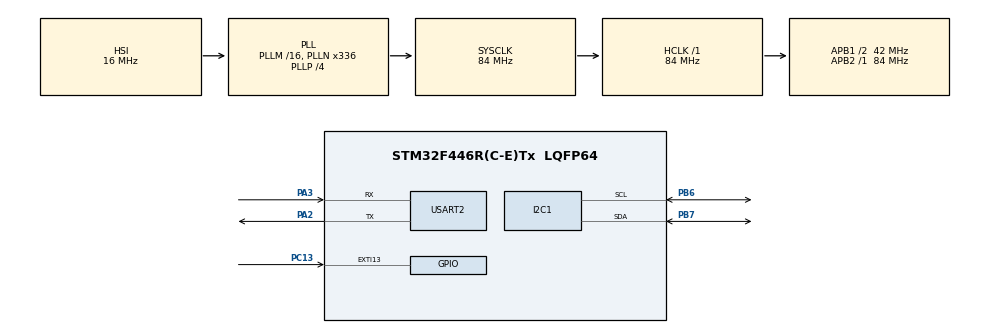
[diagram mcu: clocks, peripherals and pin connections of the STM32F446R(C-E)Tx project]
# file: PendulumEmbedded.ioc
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I2C1.I2C_Mode=I2C_Fast
Mcu.Family=STM32F4
Mcu.Name=STM32F446R(C-E)Tx
Mcu.Package=LQFP64
NVIC.EXTI15_10_IRQn=true\:0\:0\:true\:false\:true\:true\:true\:true
NVIC.PriorityGroup=NVIC_PRIORITYGROUP_1
NVIC.TIM7_IRQn=true\:0\:0\:false\:false\:true\:true\:true\:true
PA2.Mode=Asynchronous
PA2.Signal=USART2_TX
PA3.Mode=Asynchronous
PA3.Signal=USART2_RX
PB6.GPIO_Pu=GPIO_PULLUP
PB6.Mode=I2C
PB6.Signal=I2C1_SCL
PB7.GPIO_Pu=GPIO_PULLUP
PB7.Mode=I2C
PB7.Signal=I2C1_SDA
PC13.GPIO_PuPd=GPIO_PULLUP
PC13.Signal=GPXTI13
ProjectManager.HeapSize=0x5000
ProjectManager.StackSize=0x3000
ProjectManager.TargetToolchain=STM32CubeIDE
RCC.48MHZClocksFreq_Value=84000000
RCC.AHBFreq_Value=84000000
RCC.APB1CLKDivider=RCC_HCLK_DIV2
RCC.APB1Freq_Value=42000000
RCC.APB1TimFreq_Value=84000000
RCC.APB2Freq_Value=84000000
RCC.APB2TimFreq_Value=84000000
RCC.CortexFreq_Value=84000000
RCC.FLatency-AdvancedSettings=FLASH_LATENCY_2
RCC.HCLKFreq_Value=84000000
RCC.HSE_VALUE=8000000
RCC.HSI_VALUE=16000000
RCC.PLLN=336
RCC.PLLP=RCC_PLLP_DIV4
RCC.SYSCLKFreq_VALUE=84000000
RCC.SYSCLKSource=RCC_SYSCLKSOURCE_PLLCLK
RCC.USBFreq_Value=168000000
RCC.VCOOutputFreq_Value=336000000
TIM5.AutoReloadPreload=TIM_AUTORELOAD_PRELOAD_DISABLE
TIM5.Prescaler=83
TIM5.TIM_MasterOutputTrigger=TIM_TRGO_UPDATE
TIM7.AutoReloadPreload=TIM_AUTORELOAD_PRELOAD_ENABLE
TIM7.Period=29
TIM7.Prescaler=8399
TIM7.TIM_MasterOutputTrigger=TIM_TRGO_UPDATE
USART2.VirtualMode=VM_ASYNC
VP_TIM5_VS_ClockSourceINT.Mode=Internal
VP_TIM7_VS_ClockSourceINT.Mode=Enable_Timer
board=NUCLEO-F446RE

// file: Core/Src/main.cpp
/* USER CODE BEGIN Header */
/**
  ******************************************************************************
  * @file           : main.c
  * @brief          : Main program body
  ******************************************************************************
  * @attention
  *
  * Copyright (c) 2022 STMicroelectronics.
  * All rights reserved.
  *
  * This software is licensed under terms that can be found in the LICENSE file
  * in the root directory of this software component.
  * If no LICENSE file comes with this software, it is provided AS-IS.
  *
  ******************************************************************************
  */
/* USER CODE END Header */
#include "main.h"
#include "i2c.h"
#include "tim.h"
#include "usart.h"
#include "gpio.h"

/* USER CODE BEGIN Includes */
#include <cstdbool>
#include <vector>
#include <iostream>
#include "PendulumEnvironment.h"
#include "INA219Monitor.h"
#include "INA219Bench.h"
#include "PendulumINA219Monitor.h"
#include "TimingBench.h"
#include "benchFunctions.h"
#include "ina219.h"
extern "C" {
	#include "pendulum_program.h"
}

/* USER CODE END Includes */

/* USER CODE BEGIN PV */

uint8_t errorFlag = 0;

// === DEBUG ===
int startedInference = 0;
int endedInference = 0;
int debug[10];

uint64_t actions[NB_ACTIONS];

// === Pendulum global access and parameters === */

PendulumEnvironment * pendulum_ptr;
uint16_t nbActions = 1000;	// Number of actions per inference
INA219Monitor * monitor_ptr;

// === Current measurement ===

INA219_t ina219t;
const char logStart[] = "##### Log Start #####";
const char logEnd[] = "##### Log End #####";

// === TPG ===

uint32_t seed = 0;
extern "C" {
	extern double* in1;
}

/* USER CODE END PV */

void SystemClock_Config(void);

int main(void)
{

  /* MCU Configuration--------------------------------------------------------*/

  /* Reset of all peripherals, Initializes the Flash interface and the Systick. */
  HAL_Init();

  /* Configure the system clock */
  SystemClock_Config();

  /* Initialize all configured peripherals */
  MX_GPIO_Init();
  MX_I2C1_Init();
  MX_TIM7_Init();
  MX_USART2_UART_Init();
  MX_TIM5_Init();
  /* USER CODE BEGIN 2 */

	/* == Pendulum environment === */
	std::vector<double> availableAction = {0.05, 0.1, 0.2, 0.4, 0.6, 0.8, 1.0};
	PendulumEnvironment pendulum(availableAction);
	in1 = pendulum.currentState;
	pendulum_ptr = &pendulum;	// For benchmark

	/* === INA219 === */

	if(INA219_Init(&ina219t, &hi2c1, INA219_DEFAULT_ADDRESS, 3.2768) == 0){
		errorFlag = 1;
		while(1){

		}
	}

	INA219_setConfig(&ina219t, INA219_CONFIG_BADCRES_12BIT | INA219_CONFIG_BVOLTAGERANGE_32V
								| INA219_CONFIG_GAIN_1_40MV | INA219_CONFIG_MODE_SANDBVOLT_CONTINUOUS
								| INA219_CONFIG_SADCRES_12BIT);	// 0x219f

	/* === Current monitoring === */

	/* === Timing Benchmark === *///
	TimingBench benchInference(inferenceBenchWrapper, &htim5, 15, TimeUnit::Milliseconds, 0.001f);

	INA219Monitor timingRecordMonitor(&ina219t, &htim7);
	TimingBench benchRecordCurrent(currentMeasurementTimingBenchWrappe, &htim5, 100, TimeUnit::Microseconds, 1.f);
	timingRecordMonitor.flushWhenFull = false;
	monitor_ptr = &timingRecordMonitor;
//
//	for(int i = 0; i < NB_ACTIONS; i++)
//		actions[i] = rand() % 15;
//
//	TimingBench benchEvolution(environmentEvolutionTimingBenchWrapper, &htim5, 15, TimeUnit::Milliseconds, 0.001f);

	/* === Current Benchmark === */

	PendulumINA219Monitor pendulumMonitor(&ina219t, pendulum, &htim7, TimeUnit::Microseconds, 3.f);
	INA219Bench inaInferenceBench(inferenceBenchWrapper, &pendulumMonitor);

	std::cout << "Press user push button to start benchmark" << std::endl;

  /* USER CODE END 2 */

  /* Infinite loop */
  /* USER CODE BEGIN WHILE */
	while (1)
	{

		if(PC13Sig){

			// Inference timing bench
			std::cout << "===> Starting inference timing bench" << std::endl;

			benchInference.startBench();
			benchInference.printResult();

			std::cout << "===> Exiting inference timing bench" << std::endl;

			// CurrentMonitor record timing
			std::cout << "Starting timing bench" << std::endl;

			benchRecordCurrent.startBench();
			benchRecordCurrent.printResult();

			std::cout << "Exiting timing bench" << std::endl;

			// Inference ina bench
			std::cout << "Starting current bench" << std::endl;

			std::cout << logStart << std::endl;
			inaInferenceBench.startBench();
			std::cout << logEnd << std::endl;

			std::cout << "Exiting current bench" << std::endl;

			// PendulumEnvironment evolution timing bench
//			std::cout << "===> Starting environment timing bench" << std::endl;
//
//			benchEvolution.startBench();
//			benchEvolution.printResult();
//
//			std::cout << "===> Exiting inference timing bench" << std::endl;

			PC13Sig = false;
		}

    /* USER CODE END WHILE */

	}
}

void SystemClock_Config(void)
{
  RCC_OscInitTypeDef RCC_OscInitStruct = {0};
  RCC_ClkInitTypeDef RCC_ClkInitStruct = {0};

  /** Configure the main internal regulator output voltage
  */
  __HAL_RCC_PWR_CLK_ENABLE();
  __HAL_PWR_VOLTAGESCALING_CONFIG(PWR_REGULATOR_VOLTAGE_SCALE3);

  /** Initializes the RCC Oscillators according to the specified parameters
  * in the RCC_OscInitTypeDef structure.
  */
  RCC_OscInitStruct.OscillatorType = RCC_OSCILLATORTYPE_HSI;
  RCC_OscInitStruct.HSIState = RCC_HSI_ON;
  RCC_OscInitStruct.HSICalibrationValue = RCC_HSICALIBRATION_DEFAULT;
  RCC_OscInitStruct.PLL.PLLState = RCC_PLL_ON;
  RCC_OscInitStruct.PLL.PLLSource = RCC_PLLSOURCE_HSI;
  RCC_OscInitStruct.PLL.PLLM = 16;
  RCC_OscInitStruct.PLL.PLLN = 336;
  RCC_OscInitStruct.PLL.PLLP = RCC_PLLP_DIV4;
  RCC_OscInitStruct.PLL.PLLQ = 2;
  RCC_OscInitStruct.PLL.PLLR = 2;
  if (HAL_RCC_OscConfig(&RCC_OscInitStruct) != HAL_OK)
  {
    Error_Handler();
  }

  /** Initializes the CPU, AHB and APB buses clocks
  */
  RCC_ClkInitStruct.ClockType = RCC_CLOCKTYPE_HCLK|RCC_CLOCKTYPE_SYSCLK
                              |RCC_CLOCKTYPE_PCLK1|RCC_CLOCKTYPE_PCLK2;
  RCC_ClkInitStruct.SYSCLKSource = RCC_SYSCLKSOURCE_PLLCLK;
  RCC_ClkInitStruct.AHBCLKDivider = RCC_SYSCLK_DIV1;
  RCC_ClkInitStruct.APB1CLKDivider = RCC_HCLK_DIV2;
  RCC_ClkInitStruct.APB2CLKDivider = RCC_HCLK_DIV1;

  if (HAL_RCC_ClockConfig(&RCC_ClkInitStruct, FLASH_LATENCY_2) != HAL_OK)
  {
    Error_Handler();
  }
}

void Error_Handler(void)
{
  __disable_irq();
  while (1)
  {
  }
}
